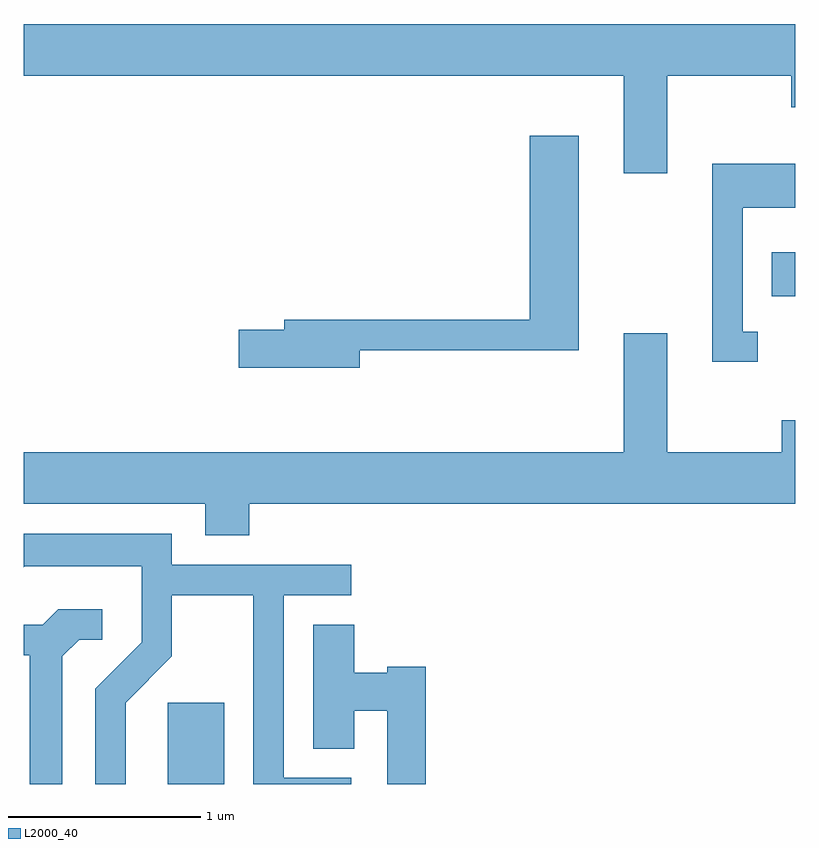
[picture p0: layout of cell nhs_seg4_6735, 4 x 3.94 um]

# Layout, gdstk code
import gdstk
lib = gdstk.Library(unit=1e-6, precision=1e-09)
def R(c, l, rs):  # rectangles x0, y0, x1, y1
    for r in rs: c.add(gdstk.rectangle(r[:2], r[2:], *l))
def P(c, l, *ps):  # polygons
    for p in ps: c.add(gdstk.Polygon(p, *l))
L2000_40 = (2000, 40)

nhs_seg4_6735 = lib.new_cell('nhs_seg4_6735')
R(nhs_seg4_6735, L2000_40, [(384.356,1259.982,384.649,1260.404), (387.491,1262.511,387.611,1262.739)])
P(nhs_seg4_6735, L2000_40, [(386.949,1263.656),(387.591,1263.656),(387.591,1263.491),(387.611,1263.491),(387.611,1263.924),(383.611,1263.924),(383.611,1263.656),(386.721,1263.656),(386.721,1263.151),(386.949,1263.151)],
  [(385.354,1262.231),(386.489,1262.231),(386.489,1263.344),(386.236,1263.344),(386.236,1262.389),(384.961,1262.389),(384.961,1262.339),(384.726,1262.339),(384.726,1262.141),(385.354,1262.141)],
  [(387.418,1262.329),(387.339,1262.329),(387.339,1262.971),(387.611,1262.971),(387.611,1263.199),(387.181,1263.199),(387.181,1262.171),(387.418,1262.171)],
  [(384.779,1261.436),(387.611,1261.436),(387.611,1261.869),(387.541,1261.869),(387.541,1261.704),(386.949,1261.704),(386.949,1262.319),(386.721,1262.319),(386.721,1261.704),(383.611,1261.704),(383.611,1261.436),(384.551,1261.436),(384.551,1261.271),(384.779,1261.271)],
  [(384.139,1260.404),(384.379,1260.644),(384.379,1260.961),(384.801,1260.961),(384.801,1259.982),(385.308,1259.982),(385.308,1260.014),(384.959,1260.014),(384.959,1260.961),(385.308,1260.961),(385.308,1261.119),(384.379,1261.119),(384.379,1261.279),(383.611,1261.279),(383.611,1261.105),(383.617,1261.111),(384.221,1261.111),(384.221,1260.717),(383.981,1260.477),(383.981,1259.982),(384.139,1259.982)],
  [(383.809,1260.644),(383.897,1260.731),(384.018,1260.731),(384.018,1260.889),(383.789,1260.889),(383.709,1260.809),(383.611,1260.809),(383.611,1260.651),(383.641,1260.651),(383.641,1259.982),(383.809,1259.982)],
  [(385.694,1260.589),(385.496,1260.589),(385.496,1260.559),(385.324,1260.559),(385.324,1260.809),(385.111,1260.809),(385.111,1260.166),(385.324,1260.166),(385.324,1260.361),(385.496,1260.361),(385.496,1259.982),(385.694,1259.982)])

lib.write_gds('nhs_seg4_6735.gds')
